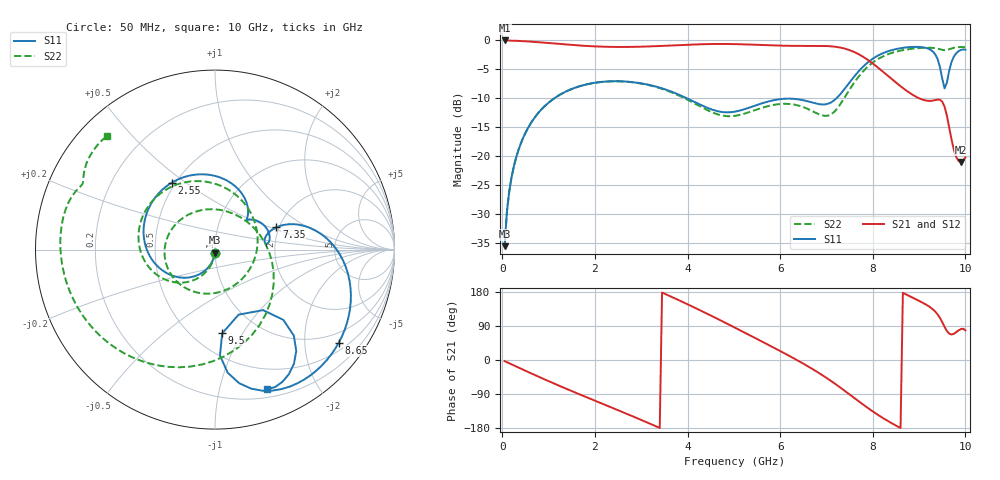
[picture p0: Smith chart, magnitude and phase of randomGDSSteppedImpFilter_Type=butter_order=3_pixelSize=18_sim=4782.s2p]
! freq	dB(S11)	phase(S11)	dB(S12)	phase(S12)
!  dB(S21)	phase(S21)	dB(S22)	phase(S22)
!S-par simulation data
#  GHz  S  DB  R 50
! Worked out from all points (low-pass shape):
!   200 points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, 50 MHz to 10 GHz, reference 50 ohm
!   highest |S21| = -0.01 dB at 50 MHz (marker M1); lowest = -21.0 dB at 9.9 GHz (marker M2)
!   |S21| within 3 dB of the highest: start of sweep to 7.826 GHz
!   lowest |S11| = -35.5 dB at 50 MHz (marker M3), VSWR 1.03, Z = 49.9 - j1.67 ohm
!   |S11| at or under -10 dB: start of sweep to 1.123 GHz; 3.988 GHz to 7.215 GHz (3.227 GHz wide, 57.6 % of centre)
!   |S22| runs from -35.5 to -1.1 dB; largest |S21 - S12| = 0
!   S11 on the Smith chart (normalised r, x): 50 MHz: 1.00, -0.03; 2.55 GHz: 0.48, +0.44; 7.35 GHz: 1.93, +0.55; 8.65 GHz: 0.69, -2.83; 9.5 GHz: 0.69, -0.82; 10 GHz: 0.28, -1.41
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0.05  -35.54 -93.0  -0.01 -2.9  -0.01 -2.9  -35.54 -92.4
0.2  -23.64 -102.8  -0.04 -11.5  -0.04 -11.5  -23.63 -100.7
0.5  -15.97 -121.6  -0.15 -28.4  -0.15 -28.4  -15.96 -116.3
1.1  -10.13 -157.5  -0.52 -61.2  -0.52 -61.2  -10.13 -146.1
1.75  -7.73 165.8  -0.92 -94.8  -0.92 -94.8  -7.73 -176.6
2.55  -7.05 123.0  -1.13 -135.0  -1.13 -135.0  -7.07 145.9
3.4  -8.16 80.4  -0.96 -179.3  -0.96 -179.3  -8.24 100.6
4.15  -10.62 51.5  -0.70 138.4  -0.70 138.4  -10.88 46.2
5.05  -12.26 42.6  -0.64 83.7  -0.64 83.7  -13.00 -54.6
5.95  -10.20 23.7  -0.89 27.0  -0.89 27.0  -11.02 -149.4
6.7  -10.74 6.5  -0.93 -24.0  -0.93 -24.0  -12.23 127.0
7.05  -10.89 12.7  -0.99 -51.3  -0.99 -51.3  -12.95 61.7
7.35  -8.80 20.0  -1.32 -77.3  -1.32 -77.3  -10.39 -2.8
7.9  -3.76 3.3  -3.40 -127.2  -3.40 -127.2  -4.48 -85.1
8.35  -1.82 -21.3  -6.27 -162.7  -6.27 -162.7  -2.32 -130.3
8.65  -1.28 -37.1  -8.22 177.3  -8.22 177.3  -1.68 -153.8
9.25  -1.63 -71.4  -10.44 138.2  -10.44 138.2  -1.27 167.9
9.5  -6.59 -85.1  -10.56 99.9  -10.56 99.9  -1.63 155.0
9.6  -7.31 -51.5  -12.98 76.6  -12.98 76.6  -1.64 152.4
9.7  -3.74 -47.5  -17.08 67.2  -17.08 67.2  -1.39 148.5
9.9  -1.65 -62.9  -20.98 81.6  -20.98 81.6  -1.14 138.3
10  -1.61 -69.4  -20.21 78.5  -20.21 78.5  -1.19 133.5
